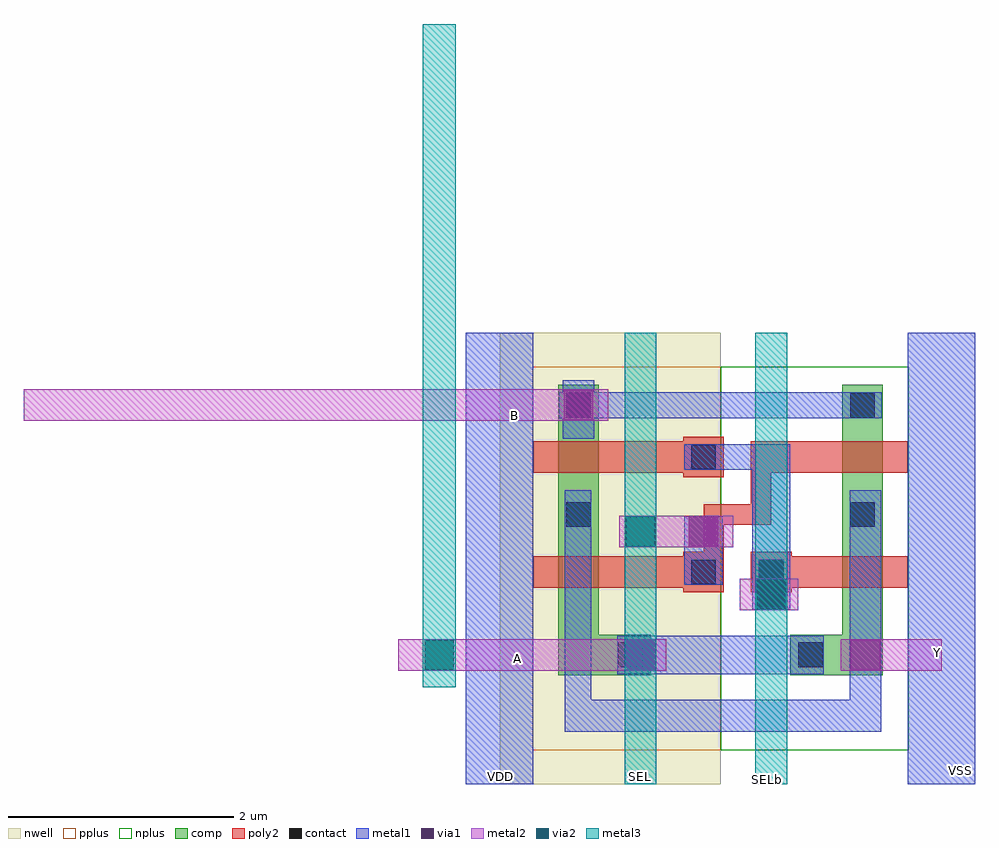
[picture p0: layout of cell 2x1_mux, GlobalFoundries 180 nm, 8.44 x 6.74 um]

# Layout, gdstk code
import gdstk
lib = gdstk.Library(unit=1e-6, precision=5e-09)
def R(c, l, rs):  # rectangles x0, y0, x1, y1
    for r in rs: c.add(gdstk.rectangle(r[:2], r[2:], *l))
nwell = (21, 0)
comp = (22, 0)
poly2 = (30, 0)
pplus = (31, 0)
nplus = (32, 0)
contact = (33, 0)
metal1 = (34, 0)
via1 = (35, 0)
metal2 = (36, 0)
via2 = (38, 0)
metal3 = (42, 0)

c_2x1_mux = lib.new_cell('2x1_mux')
R(c_2x1_mux, nwell, [(-3.75,3.81,-1.79,7.81)])
R(c_2x1_mux, comp, [(-3.23,4.775,-2.87,7.35), (-2.87,4.775,-2.41,5.135), (-1.17,4.775,-0.71,5.135), (-0.71,4.775,-0.35,7.35)])
R(c_2x1_mux, poly2, [(-2.12,5.51,-1.76,5.87), (-1.52,5.51,-1.16,5.87), (-3.45,5.55,-2.12,5.83), (-1.16,5.55,-0.13,5.83), (-1.94,5.87,-1.76,6.11), (-1.94,6.11,-1.34,6.29), (-1.52,6.29,-1.34,6.57), (-2.12,6.53,-1.76,6.89), (-3.45,6.57,-2.12,6.85), (-1.52,6.57,-0.13,6.85)])
R(c_2x1_mux, pplus, [(-3.46,4.11,-1.79,7.51)])
R(c_2x1_mux, nplus, [(-1.79,4.11,-0.12,7.51)])
R(c_2x1_mux, contact, [(-2.7,4.845,-2.48,5.065), (-1.1,4.845,-0.88,5.065), (-2.05,5.58,-1.83,5.8), (-1.45,5.58,-1.23,5.8), (-3.16,6.09,-2.94,6.31), (-0.64,6.09,-0.42,6.31), (-2.05,6.6,-1.83,6.82), (-3.16,7.06,-2.94,7.28), (-0.64,7.06,-0.42,7.28)])
R(c_2x1_mux, metal1, [(-4.05,3.81,-3.45,7.81), (-0.13,3.81,0.47,7.81), (-3.17,4.275,-2.935,6.415), (-2.935,4.275,-0.645,4.555), (-0.645,4.275,-0.365,6.415), (-2.705,4.785,-0.875,5.125), (-1.51,5.355,-1.17,6.595), (-2.11,5.575,-1.77,6.185), (-2.11,6.595,-1.17,6.825), (-3.19,6.87,-2.91,7.39), (-3.22,7.055,-0.36,7.285)])
R(c_2x1_mux, via1, [(-2.62,4.825,-2.36,5.085), (-0.635,4.825,-0.375,5.085), (-1.47,5.36,-1.21,5.62), (-2.07,5.92,-1.81,6.18), (-3.18,7.04,-2.92,7.3)])
R(c_2x1_mux, metal2, [(-4.65,4.815,-2.27,5.095), (-0.725,4.815,0.17,5.095), (-1.62,5.35,-1.1,5.63), (-2.69,5.91,-1.675,6.19), (-7.97,7.03,-2.785,7.31)])
R(c_2x1_mux, via2, [(-4.415,4.825,-4.155,5.085), (-1.47,5.36,-1.21,5.62), (-2.63,5.92,-2.37,6.18)])
R(c_2x1_mux, metal3, [(-2.64,3.81,-2.36,7.81), (-1.48,3.81,-1.2,7.81), (-4.43,4.67,-4.14,10.55)])
c_2x1_mux.add(gdstk.Label('VSS', (0.34,3.93), layer=34, texttype=10))
c_2x1_mux.add(gdstk.Label('VDD', (-3.74,3.88), layer=34, texttype=10))
c_2x1_mux.add(gdstk.Label('SEL', (-2.5,3.875), layer=42, texttype=10))
c_2x1_mux.add(gdstk.Label('SELb', (-1.375,3.85), layer=42, texttype=10))
c_2x1_mux.add(gdstk.Label('B', (-3.62,7.08), layer=36, texttype=10))
c_2x1_mux.add(gdstk.Label('A', (-3.59,4.925), layer=36, texttype=10))
c_2x1_mux.add(gdstk.Label('Y', (0.135,4.98), layer=36, texttype=10))

lib.write_gds('2x1_mux.gds')
